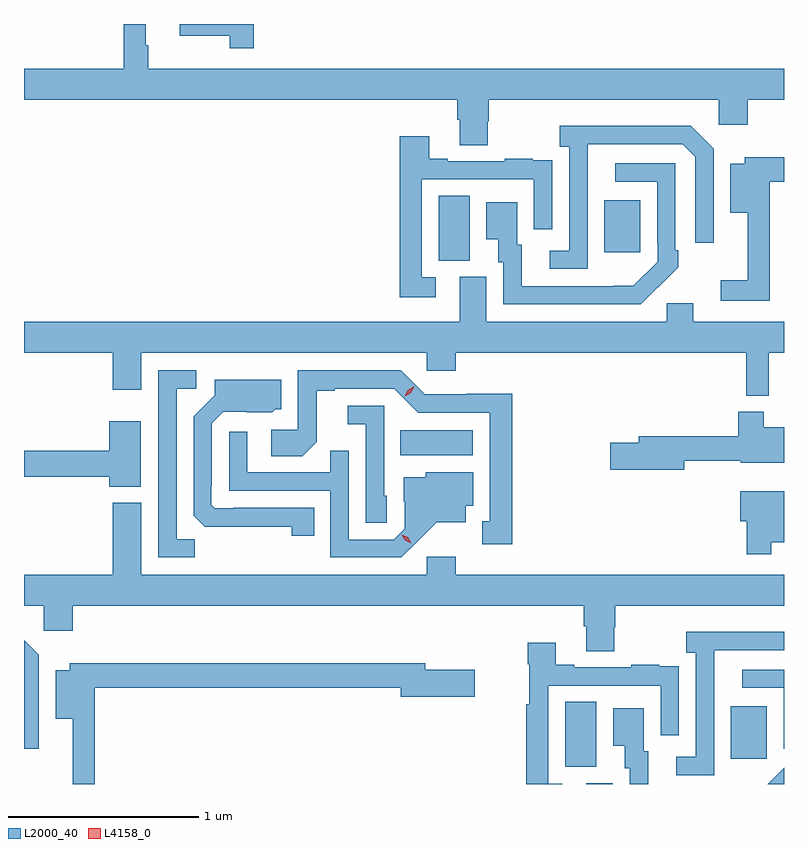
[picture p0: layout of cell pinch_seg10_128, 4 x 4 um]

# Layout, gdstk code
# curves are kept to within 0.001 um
import gdstk
lib = gdstk.Library(unit=1e-6, precision=1e-09)
def R(c, l, rs):  # rectangles x0, y0, x1, y1
    for r in rs: c.add(gdstk.rectangle(r[:2], r[2:], *l))
def P(c, l, *ps):  # polygons
    for p in ps: c.add(gdstk.Polygon(p, *l))
L2000_40 = (2000, 40)
L4158_0 = (4158, 0)

pinch_seg10_128 = lib.new_cell('pinch_seg10_128')
R(pinch_seg10_128, L2000_40, [(713.327,1286.059,713.467,1286.064), (713.216,1286.149,713.38,1286.492), (714.089,1286.193,714.277,1286.467), (712.348,1287.788,712.729,1287.922), (712.55,1288.813,712.714,1289.156), (713.423,1288.857,713.611,1289.131)])
P(pinch_seg10_128, L2000_40, [(712.809,1289.547),(712.814,1289.547),(712.814,1289.66),(714.024,1289.66),(714.024,1289.529),(714.176,1289.529),(714.176,1289.66),(714.368,1289.66),(714.368,1289.824),(711.022,1289.824),(711.022,1289.948),(711.01,1289.948),(711.01,1290.059),(710.893,1290.059),(710.893,1289.824),(710.368,1289.824),(710.368,1289.66),(712.649,1289.66),(712.649,1289.554),(712.661,1289.554),(712.661,1289.422),(712.809,1289.422)],
  [(711.578,1290.059),(711.188,1290.059),(711.188,1289.996),(711.45,1289.996),(711.45,1289.931),(711.578,1289.931)],
  [(713.334,1289.227),(713.335,1289.427),(713.835,1289.427),(713.901,1289.361),(713.901,1288.908),(713.997,1288.908),(713.997,1289.403),(713.876,1289.524),(713.187,1289.524),(713.187,1289.414),(713.238,1289.414),(713.238,1288.866),(713.136,1288.866),(713.136,1288.77),(713.334,1288.77)],
  [(712.534,1288.725),(712.461,1288.725),(712.461,1289.241),(713.052,1289.241),(713.052,1288.98),(713.148,1288.98),(713.148,1289.234),(713.147,1289.234),(713.147,1289.343),(713.045,1289.343),(713.045,1289.35),(712.897,1289.35),(712.897,1289.337),(712.597,1289.337),(712.597,1289.35),(712.501,1289.35),(712.501,1289.467),(712.345,1289.467),(712.345,1288.62),(712.534,1288.62)],
  [(714.293,1289.23),(714.368,1289.23),(714.368,1289.359),(714.162,1289.359),(714.162,1289.323),(714.086,1289.323),(714.086,1289.066),(714.176,1289.066),(714.176,1288.711),(714.036,1288.711),(714.036,1288.602),(714.293,1288.602)],
  [(713.705,1288.675),(713.706,1288.674),(713.811,1288.779),(713.811,1288.867),(713.796,1288.867),(713.796,1289.325),(713.481,1289.325),(713.481,1289.229),(713.7,1289.229),(713.7,1288.909),(713.703,1288.909),(713.703,1288.809),(713.575,1288.681),(712.987,1288.68),(712.987,1288.896),(712.963,1288.896),(712.963,1289.122),(712.802,1289.122),(712.802,1288.925),(712.865,1288.925),(712.865,1288.806),(712.89,1288.806),(712.89,1288.584),(713.614,1288.584)],
  [(714.287,1288.328),(714.368,1288.328),(714.368,1288.492),(713.89,1288.492),(713.89,1288.59),(713.751,1288.59),(713.751,1288.492),(712.801,1288.492),(712.801,1288.728),(712.661,1288.728),(712.661,1288.492),(710.368,1288.492),(710.368,1288.328),(710.834,1288.328),(710.834,1288.134),(710.986,1288.134),(710.986,1288.328),(712.488,1288.328),(712.488,1288.235),(712.64,1288.235),(712.64,1288.328),(714.169,1288.328),(714.169,1288.103),(714.287,1288.103)],
  [(711.267,1287.347),(711.171,1287.347),(711.171,1288.14),(711.274,1288.14),(711.274,1288.236),(711.075,1288.236),(711.075,1287.252),(711.267,1287.252)],
  [(712.939,1288.112),(712.698,1288.112),(712.698,1288.11),(712.476,1288.11),(712.35,1288.236),(711.81,1288.236),(711.81,1287.924),(711.669,1287.924),(711.669,1287.784),(711.833,1287.784),(711.909,1287.86),(711.909,1288.128),(712.003,1288.128),(712.003,1288.14),(712.317,1288.14),(712.443,1288.014),(712.82,1288.014),(712.82,1287.441),(712.781,1287.441),(712.781,1287.321),(712.939,1287.321)],
  [(711.896,1287.513),(711.472,1287.513),(711.472,1287.51),(711.372,1287.51),(711.354,1287.528),(711.354,1287.628),(711.357,1287.628),(711.357,1287.957),(711.417,1288.017),(711.674,1288.016),(711.69,1288.032),(711.721,1288.032),(711.721,1288.186),(711.371,1288.186),(711.371,1288.104),(711.261,1287.994),(711.261,1287.472),(711.32,1287.413),(711.778,1287.412),(711.778,1287.366),(711.896,1287.366)],
  [(712.278,1287.576),(712.263,1287.576),(712.263,1288.05),(712.071,1288.05),(712.071,1287.953),(712.167,1287.953),(712.167,1287.433),(712.278,1287.433)],
  [(713.842,1287.76),(714.14,1287.76),(714.14,1287.749),(714.368,1287.749),(714.368,1287.937),(714.262,1287.937),(714.262,1288.018),(714.128,1288.018),(714.128,1287.889),(713.603,1287.889),(713.603,1287.855),(713.454,1287.855),(713.454,1287.713),(713.842,1287.713)],
  [(710.983,1287.967),(710.816,1287.967),(710.816,1287.812),(710.368,1287.812),(710.368,1287.676),(710.816,1287.676),(710.816,1287.623),(710.983,1287.623)],
  [(712.438,1287.335),(712.541,1287.437),(712.693,1287.437),(712.693,1287.524),(712.732,1287.524),(712.732,1287.7),(712.482,1287.7),(712.482,1287.673),(712.367,1287.673),(712.367,1287.544),(712.371,1287.544),(712.371,1287.402),(712.314,1287.345),(712.077,1287.345),(712.077,1287.812),(711.979,1287.812),(711.979,1287.699),(711.543,1287.699),(711.543,1287.913),(711.447,1287.913),(711.447,1287.603),(711.981,1287.603),(711.981,1287.252),(712.354,1287.252)],
  [(714.301,1287.332),(714.368,1287.332),(714.368,1287.601),(714.138,1287.601),(714.138,1287.443),(714.172,1287.443),(714.172,1287.267),(714.301,1287.267)],
  [(713.475,1286.883),(713.48,1286.883),(713.48,1286.996),(714.368,1286.996),(714.368,1287.16),(712.64,1287.16),(712.64,1287.256),(712.488,1287.256),(712.488,1287.16),(710.986,1287.16),(710.986,1287.538),(710.834,1287.538),(710.834,1287.16),(710.368,1287.16),(710.368,1286.996),(710.472,1286.996),(710.472,1286.865),(710.624,1286.865),(710.624,1286.996),(713.315,1286.996),(713.315,1286.89),(713.327,1286.89),(713.327,1286.758),(713.475,1286.758)],
  [(714,1286.563),(714.001,1286.563),(714.001,1286.763),(714.368,1286.763),(714.368,1286.86),(713.853,1286.86),(713.853,1286.75),(713.904,1286.75),(713.904,1286.202),(713.802,1286.202),(713.802,1286.106),(714,1286.106)],
  [(710.445,1286.739),(710.368,1286.816),(710.368,1286.244),(710.445,1286.244)],
  [(713.2,1286.061),(713.127,1286.061),(713.127,1286.577),(713.718,1286.577),(713.718,1286.316),(713.814,1286.316),(713.814,1286.57),(713.813,1286.57),(713.813,1286.679),(713.711,1286.679),(713.711,1286.686),(713.563,1286.686),(713.563,1286.673),(713.263,1286.673),(713.263,1286.686),(713.167,1286.686),(713.167,1286.803),(713.018,1286.803),(713.018,1286.69),(713.026,1286.69),(713.026,1286.48),(713.011,1286.48),(713.011,1286.059),(713.2,1286.059)],
  [(710.741,1286.566),(712.352,1286.566),(712.352,1286.519),(712.741,1286.519),(712.741,1286.661),(712.48,1286.661),(712.48,1286.695),(710.61,1286.695),(710.61,1286.659),(710.534,1286.659),(710.534,1286.402),(710.624,1286.402),(710.624,1286.059),(710.741,1286.059)],
  [(714.368,1286.661),(714.147,1286.661),(714.147,1286.565),(714.366,1286.565),(714.366,1286.245),(714.368,1286.245)],
  [(713.653,1286.232),(713.629,1286.232),(713.629,1286.458),(713.468,1286.458),(713.468,1286.261),(713.531,1286.261),(713.531,1286.142),(713.556,1286.142),(713.556,1286.059),(713.653,1286.059)],
  [(714.368,1286.144),(714.283,1286.059),(714.368,1286.059)])
P(pinch_seg10_128, L4158_0, [(712.372,1288.099),(712.372,1288.099),(712.389,1288.131),(712.42,1288.151),(712.421,1288.151),(712.421,1288.15),(712.403,1288.118),(712.372,1288.099)],
  [(712.405,1287.327),(712.374,1287.342),(712.357,1287.371),(712.357,1287.372),(712.357,1287.372),(712.388,1287.357),(712.406,1287.327),(712.406,1287.327)])

lib.write_gds('pinch_seg10_128.gds')
